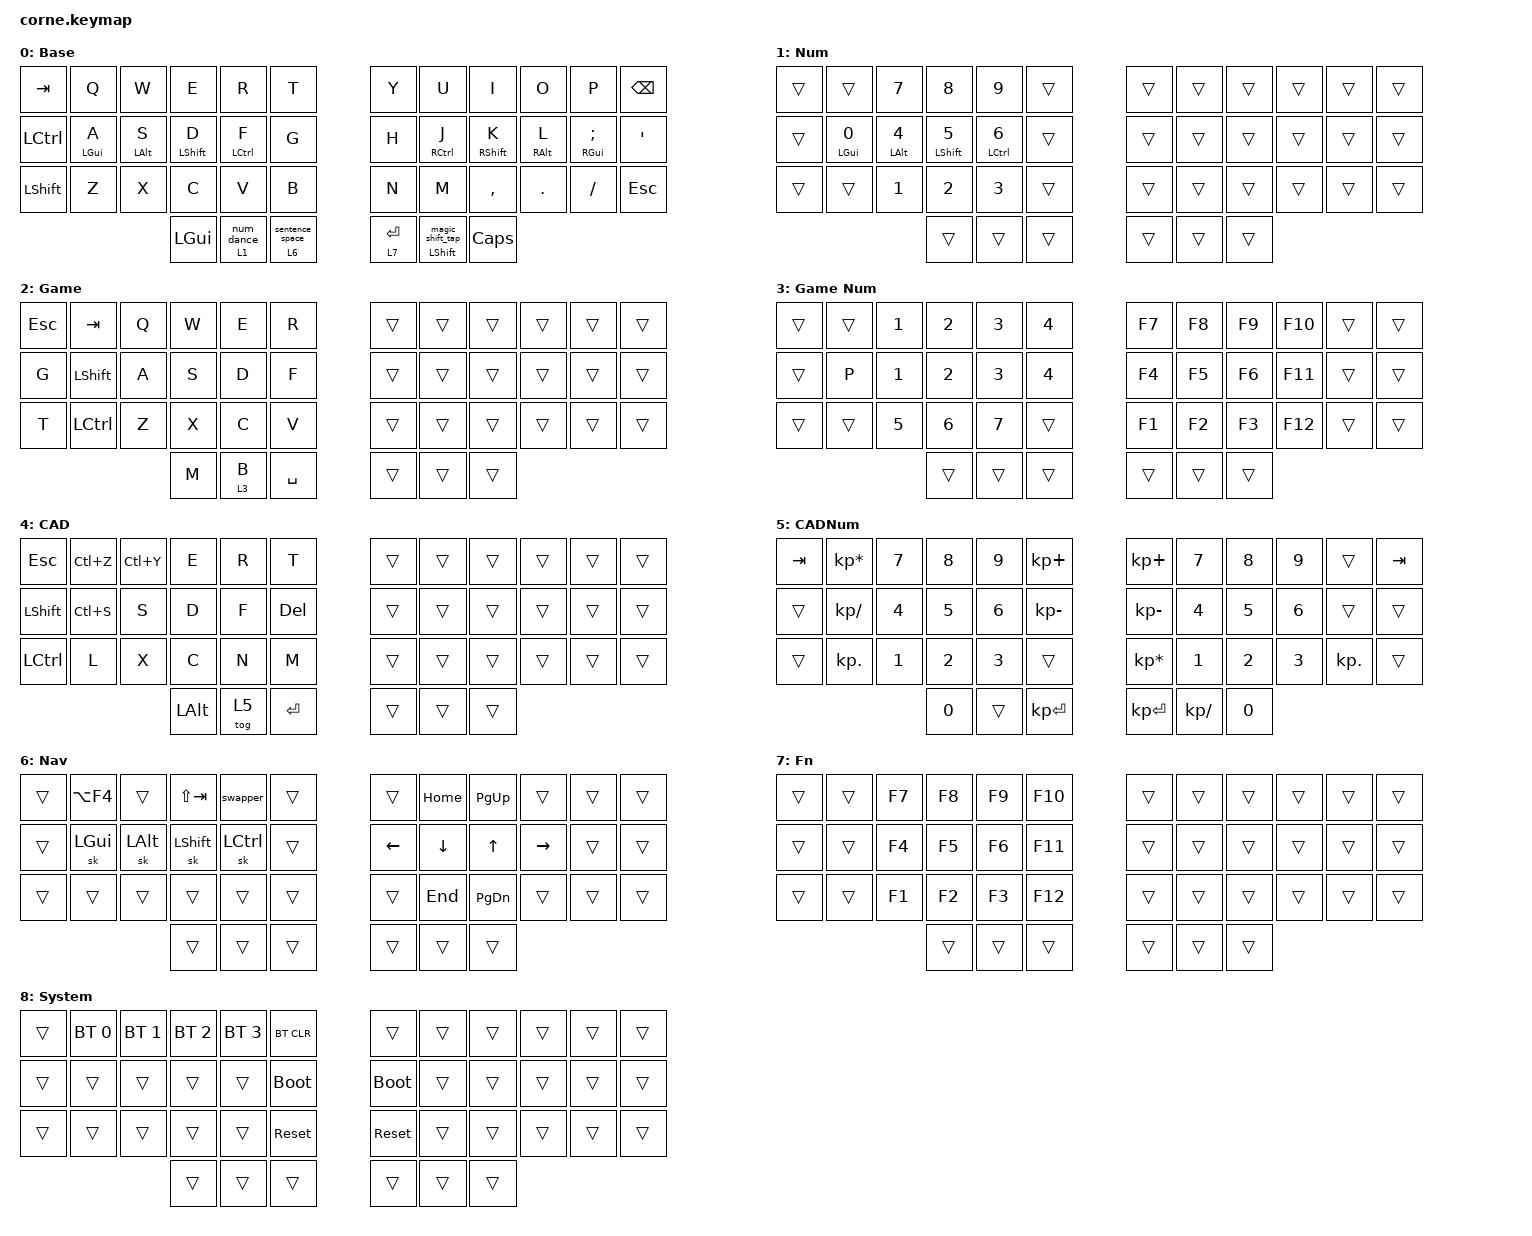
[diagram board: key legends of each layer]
/*
 * Copyright (c) 2020 The ZMK Contributors
 *
 * SPDX-License-Identifier: MIT
 */

#include <behaviors.dtsi>
#include <behaviors/num_word.dtsi>
#include <dt-bindings/zmk/bt.h>
#include <dt-bindings/zmk/keys.h>

&sk {
    release-after-ms = <900>;
    quick-release;
};

&lt {
    flavor = "balanced";
    tapping-term-ms = <200>;
    quick-tap-ms = <175>;
};

&caps_word {
    /delete-property/ ignore-modifiers;
};

#define SYMBOL_COMBO(name, binding, combo_positions, combo_timeout, combo_idle) \
    name {                                                     \
        bindings = <binding>;                                  \
        key-positions = <combo_positions>;                     \
        layers = <0 1 6>;                                      \
        timeout-ms = <combo_timeout>;                          \
        require-prior-idle-ms = <combo_idle>;                  \
    };

/ {
    behaviors {
        hml: homerow_mod_left {
            compatible = "zmk,behavior-hold-tap";
            #binding-cells = <2>;
            flavor = "balanced";
            tapping-term-ms = <280>;
            quick-tap-ms = <175>;
            require-prior-idle-ms = <150>;
            bindings = <&kp>, <&kp>;
            hold-trigger-key-positions = <6 7 8 9 10 11 18 19 20 21 22 23 30 31 32 33 34 35 36 37 38 39 40 41>;
            hold-trigger-on-release;
        };

        hmr: homerow_mod_right {
            compatible = "zmk,behavior-hold-tap";
            #binding-cells = <2>;
            flavor = "balanced";
            tapping-term-ms = <280>;
            quick-tap-ms = <175>;
            require-prior-idle-ms = <150>;
            bindings = <&kp>, <&kp>;
            hold-trigger-key-positions = <0 1 2 3 4 5 12 13 14 15 16 17 24 25 26 27 28 29 36 37 38 39 40 41>;
            hold-trigger-on-release;
        };

        sentence: sentence {
            compatible = "zmk,behavior-macro";
            #binding-cells = <0>;
            bindings = <&kp DOT &kp SPACE &sk LSHFT>;
            wait-ms = <0>;
            tap-ms = <5>;
        };

        sentence_space: sentence_space {
            compatible = "zmk,behavior-mod-morph";
            #binding-cells = <0>;
            bindings = <&kp SPACE>, <&sentence>;
            mods = <(MOD_LSFT | MOD_RSFT)>;
        };

        lpar_lt: lpar_lt {
            compatible = "zmk,behavior-mod-morph";
            #binding-cells = <0>;
            bindings = <&kp LPAR>, <&kp LESS_THAN>;
            mods = <(MOD_LSFT | MOD_RSFT)>;
        };

        rpar_gt: rpar_gt {
            compatible = "zmk,behavior-mod-morph";
            #binding-cells = <0>;
            bindings = <&kp RPAR>, <&kp GREATER_THAN>;
            mods = <(MOD_LSFT | MOD_RSFT)>;
        };

        space_nav: space_nav {
            compatible = "zmk,behavior-hold-tap";
            #binding-cells = <2>;
            flavor = "balanced";
            tapping-term-ms = <200>;
            quick-tap-ms = <175>;
            bindings = <&mo>, <&sentence_space>;
        };

        smart_num: smart_num {
            compatible = "zmk,behavior-hold-tap";
            #binding-cells = <2>;
            flavor = "balanced";
            tapping-term-ms = <200>;
            quick-tap-ms = <175>;
            bindings = <&mo>, <&num_dance>;
        };

        magic_shift: magic_shift {
            compatible = "zmk,behavior-hold-tap";
            #binding-cells = <2>;
            flavor = "balanced";
            tapping-term-ms = <200>;
            quick-tap-ms = <175>;
            bindings = <&kp>, <&magic_shift_tap>;
        };

        magic_shift_tap: magic_shift_tap {
            compatible = "zmk,behavior-mod-morph";
            #binding-cells = <0>;
            bindings = <&shift_repeat>, <&caps_word>;
            mods = <(MOD_LSFT)>;
        };

        shift_repeat: shift_repeat {
            compatible = "zmk,behavior-adaptive-key";
            #binding-cells = <0>;
            bindings = <&sk LSHFT>;

            repeat {
                trigger-keys = <A B C D E F G H I J K L M N O P Q R S T U V W X Y Z>;
                bindings = <&key_repeat>;
                max-prior-idle-ms = <1200>;
                strict-modifiers;
            };
        };

        game_num: game_num {
            compatible = "zmk,behavior-hold-tap";
            #binding-cells = <2>;
            flavor = "hold-preferred";
            tapping-term-ms = <200>;
            bindings = <&mo>, <&kp>;
        };

        num_dance: num_dance {
            compatible = "zmk,behavior-tap-dance";
            #binding-cells = <0>;
            tapping-term-ms = <200>;
            bindings = <&num_word 1>, <&sl 1>;
        };

        swapper: swapper {
            compatible = "zmk,behavior-tri-state";
            #binding-cells = <0>;
            bindings = <&kt LALT>, <&kp TAB>, <&kt LALT>;
            ignored-key-positions = <3>;
            ignored-layers = <6>;
        };
    };

    combos {
        compatible = "zmk,combos";

        ToGame {
            bindings = <&to 2>;
            key-positions = <14 3 16>;
            layers = <0>;
        };

        ToCad {
            bindings = <&tog 4>;
            key-positions = <27 28 29>;
            layers = <0 4>;
        };

        GameAlt {
            bindings = <&kp LEFT_ALT>;
            key-positions = <25 13>;
            layers = <2>;
        };

        BackToBase {
            bindings = <&to 0>;
            key-positions = <0 38>;
            layers = <2>;
            timeout-ms = <30>;
        };

        SystemAccess {
            bindings = <&mo 8>;
            key-positions = <37 40>;
            layers = <0>;
            timeout-ms = <50>;
        };

        SYMBOL_COMBO(escape,    &kp ESC,     2 3,   18, 150)
        SYMBOL_COMBO(backspace, &kp BSPC,    7 8,   18, 150)
        SYMBOL_COMBO(delete,    &kp DEL,     8 9,   18, 150)
        SYMBOL_COMBO(cut,       &kp LC(X),   26 28, 18, 150)
        SYMBOL_COMBO(copy,      &kp LC(INS), 26 27, 18, 150)
        SYMBOL_COMBO(paste,     &kp LS(INS), 27 28, 18, 150)

        SYMBOL_COMBO(symbol_excl,  &kp EXCL,  1 13, 30, 50)
        SYMBOL_COMBO(symbol_at,    &kp AT,    2 14, 30, 50)
        SYMBOL_COMBO(symbol_hash,  &kp HASH,  3 15, 30, 50)
        SYMBOL_COMBO(symbol_dllr,  &kp DLLR,  4 16, 30, 50)
        SYMBOL_COMBO(symbol_prcnt, &kp PRCNT, 5 17, 30, 50)
        SYMBOL_COMBO(symbol_caret, &kp CARET, 6 18, 30, 50)
        SYMBOL_COMBO(symbol_amps,  &kp AMPS,  7 19, 30, 50)
        SYMBOL_COMBO(symbol_star,  &kp ASTRK, 8 20, 30, 50)
        SYMBOL_COMBO(symbol_lpar,  &kp LPAR,  9 21, 30, 50)
        SYMBOL_COMBO(symbol_rpar,  &kp RPAR,  10 22, 30, 50)

        SYMBOL_COMBO(symbol_grave, &kp GRAVE, 13 25, 30, 50)
        SYMBOL_COMBO(symbol_bslh,  &kp BSLH,  14 26, 30, 50)
        SYMBOL_COMBO(symbol_equal, &kp EQUAL, 15 27, 30, 50)
        SYMBOL_COMBO(symbol_tilde, &kp TILDE, 16 28, 30, 50)
        SYMBOL_COMBO(symbol_plus,  &kp PLUS,  17 29, 30, 50)
        SYMBOL_COMBO(symbol_under, &kp UNDER, 18 30, 30, 50)
        SYMBOL_COMBO(symbol_minus, &kp MINUS, 19 31, 30, 50)
        SYMBOL_COMBO(symbol_fslh,  &kp FSLH,  20 32, 30, 50)
        SYMBOL_COMBO(symbol_pipe,  &kp PIPE,  21 33, 30, 50)

        SYMBOL_COMBO(symbol_lpar_lt, &lpar_lt, 19 20, 28, 150)
        SYMBOL_COMBO(symbol_rpar_gt, &rpar_gt, 20 21, 28, 150)
        SYMBOL_COMBO(symbol_lbkt, &kp LBKT, 31 32, 28, 150)
        SYMBOL_COMBO(symbol_rbkt, &kp RBKT, 32 33, 28, 150)
    };

    keymap {
        compatible = "zmk,keymap";

        default_layer {
            // -----------------------------------------------------------------------------------------
            // |  TAB |  Q  |  W  |  E  |  R  |  T  |   |  Y  |  U   |  I  |  O  |  P  | BSPC |
            // | CTRL | GUI/A | ALT/S | SFT/D | CTL/F |  G  |   |  H  | CTL/J | SFT/K | ALT/L | GUI/; |  '  |
            // | SHFT |  Z  |  X  |  C  |  V  |  B  |   |  N  |  M   |  ,  |  .  |  /  | ESC  |
            //                    | GUI | NUM | SPC/NAV |   | ENT/FN | MAGIC | CAPS |

            bindings = <
&kp TAB    &kp Q  &kp W  &kp E     &kp R  &kp T        &kp Y    &kp U  &kp I      &kp O    &kp P     &kp BSPC
&kp LCTRL  &hml LGUI A  &hml LALT S  &hml LSHFT D  &hml LCTRL F  &kp G    &kp H  &hmr RCTRL J  &hmr RSHFT K  &hmr RALT L  &hmr RGUI SEMI  &kp SQT
&kp LSHFT  &kp Z  &kp X  &kp C     &kp V  &kp B        &kp N    &kp M  &kp COMMA  &kp DOT  &kp FSLH  &kp ESC
                         &kp LGUI  &smart_num 1 0  &space_nav 6 0    &lt 7 RET  &magic_shift LSHFT 0  &kp CAPS
            >;

            label = "Base";
        };

        lower_layer {
            // -----------------------------------------------------------------------------------------
            // |     |     |  7  |  8  |  9  |     |   |     |     |     |     |     |     |
            // |     | GUI/0 | ALT/4 | SFT/5 | CTL/6 |     |   |     |     |     |     |     |     |
            // |     |     |  1  |  2  |  3  |     |   |     |     |     |     |     |     |
            //                         |     |     |     |   |     |     |     |

            bindings = <
&trans  &trans        &kp N7        &kp N8         &kp N9         &trans      &trans  &trans  &trans  &trans  &trans  &trans
&trans  &hml LGUI N0  &hml LALT N4  &hml LSHFT N5  &hml LCTRL N6  &trans      &trans  &trans  &trans  &trans  &trans  &trans
&trans  &trans        &kp N1        &kp N2         &kp N3         &trans      &trans  &trans  &trans  &trans  &trans  &trans
                                &trans  &trans  &trans      &trans  &trans  &trans
            >;

            label = "Num";
        };

        Game {
            bindings = <
&kp ESC  &kp TAB    &kp Q  &kp W  &kp E    &kp R        &trans  &trans  &trans  &trans  &trans  &trans
&kp G    &kp LSHFT  &kp A  &kp S  &kp D    &kp F        &trans  &trans  &trans  &trans  &trans  &trans
&kp T    &kp LCTRL  &kp Z  &kp X  &kp C    &kp V        &trans  &trans  &trans  &trans  &trans  &trans
                           &kp M  &game_num 3 B  &kp SPACE    &trans  &trans  &trans
            >;

            label = "Game";
        };

        GameAlt {
            bindings = <
&trans  &trans  &kp N1  &kp N2  &kp N3  &kp NUMBER_4    &kp F7  &kp F8  &kp F9  &kp F10  &trans  &trans
&trans  &kp P   &kp N1  &kp N2  &kp N3  &kp N4          &kp F4  &kp F5  &kp F6  &kp F11  &trans  &trans
&trans  &trans  &kp N5  &kp N6  &kp N7  &trans          &kp F1  &kp F2  &kp F3  &kp F12  &trans  &trans
                         &trans  &trans  &trans          &trans   &trans   &trans
            >;

            label = "Game Num";
        };

        CAD {
            bindings = <
&kp ESC    &kp LC(Z)  &kp LC(Y)  &kp E     &kp R   &kp T      &trans  &trans  &trans  &trans  &trans  &trans
&kp LSHFT  &kp LC(S)  &kp S      &kp D     &kp F   &kp DEL    &trans  &trans  &trans  &trans  &trans  &trans
&kp LCTRL  &kp L      &kp X      &kp C     &kp N   &kp M      &trans  &trans  &trans  &trans  &trans  &trans
                                 &kp LALT  &tog 5  &kp RET    &trans  &trans  &trans
            >;

            label = "CAD";
        };

        CADView {
            bindings = <
&kp TAB  &kp KP_MULTIPLY  &kp N7  &kp N8  &kp N9  &kp KP_PLUS     &kp KP_PLUS      &kp N7         &kp N8  &kp N9  &trans      &kp TAB
&trans   &kp KP_DIVIDE    &kp N4  &kp N5  &kp N6  &kp KP_MINUS    &kp KP_SUBTRACT  &kp N4         &kp N5  &kp N6  &trans      &trans
&trans   &kp KP_DOT       &kp N1  &kp N2  &kp N3  &trans          &kp KP_MULTIPLY  &kp N1         &kp N2  &kp N3  &kp KP_DOT  &trans
                                  &kp N0  &trans  &kp KP_ENTER    &kp KP_ENTER     &kp KP_DIVIDE  &kp N0
            >;

            label = "CADNum";
        };

        Nav {
            bindings = <
&trans  &kp LA(F4)  &trans    &kp LS(TAB)  &swapper   &trans      &trans  &kp HOME  &kp PG_UP  &trans     &trans  &trans
&trans  &sk LGUI    &sk LALT  &sk LSHFT    &sk LCTRL  &trans      &kp LEFT  &kp DOWN  &kp UP    &kp RIGHT  &trans  &trans
&trans  &trans      &trans    &trans        &trans     &trans      &trans    &kp END   &kp PG_DN  &trans     &trans  &trans
                                     &trans  &trans  &trans      &trans  &trans  &trans
            >;

            label = "Nav";
        };

        Fn {
            bindings = <
&trans  &trans  &kp F7  &kp F8  &kp F9  &kp F10      &trans  &trans  &trans  &trans  &trans  &trans
&trans  &trans  &kp F4  &kp F5  &kp F6  &kp F11      &trans  &trans  &trans  &trans  &trans  &trans
&trans  &trans  &kp F1  &kp F2  &kp F3  &kp F12      &trans  &trans  &trans  &trans  &trans  &trans
                         &trans  &trans  &trans          &trans  &trans  &trans
            >;

            label = "Fn";
        };

        System {
            bindings = <
&trans  &bt BT_SEL 0  &bt BT_SEL 1  &bt BT_SEL 2  &bt BT_SEL 3  &bt BT_CLR      &trans       &trans  &trans  &trans  &trans  &trans
&trans  &trans        &trans        &trans        &trans        &bootloader     &bootloader  &trans  &trans  &trans  &trans  &trans
&trans  &trans        &trans        &trans        &trans        &sys_reset      &sys_reset   &trans  &trans  &trans  &trans  &trans
                                            &trans  &trans  &trans             &trans  &trans  &trans
            >;

            label = "System";
        };
    };
};
